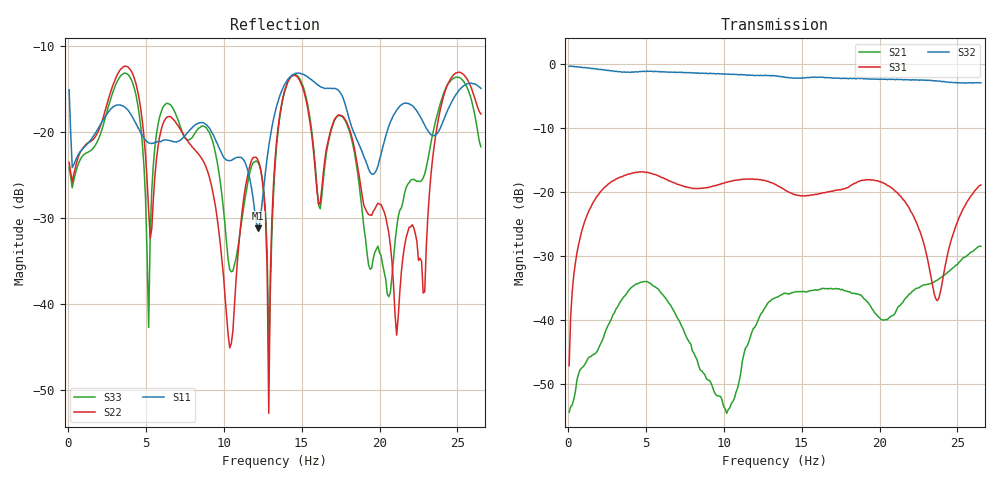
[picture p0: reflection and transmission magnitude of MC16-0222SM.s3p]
!Marki	Microwave	Inc.
!Sales	Email:	info@markimicrowave.com
!Support	Email:	support@markimicrowave.com
!Phone:	408-778-4200
!Model	Number:	MC16-0222SM
!Filename:	MC16-0222SM.s3p
!Description:	MMIC 2-22GHz Coupler
!Port	configuration:	PORT 	1:	Coupled
!  PORT 	2:	Output
!  PORT 	3:	Input
!S3P File:
!Freq DBS11 AngS11 DBS12 AngS12 DBS13 AngS13
!	DBS21 AngS21 DBS22 AngS22 DBS23 AngS23
!	DBS31 AngS31 DBS32 AngS32 DBS33 AngS33
# Hz S  dB  R 50
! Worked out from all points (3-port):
!   265 points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, 100 mHz to 26.5 Hz, reference 50 ohm
!   strongest paths, dB at 100 mHz, 6.7 Hz, 13.3 Hz, 19.9 Hz, 26.5 Hz:
!     S32: -0.3, -1.2, -1.8, -2.3, -2.9
!     S31: -47.2, -18.4, -18.8, -18.2, -18.9
!     S21: -54.4, -38.1, -36.5, -39.4, -28.5
!   lowest |S11| = -31.2 dB at 12.2 Hz (marker M1), VSWR 1.06, Z = 51.6 + j2.3 ohm
!   |S11| at or under -10 dB: start of sweep to end of sweep
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0.1  -15.10 6.5  -52.51 85.5  -42.34 -64.7
     -54.41 10.0  -23.52 39.8  -0.32 -4.9
     -47.16 -107.1  -0.31 -4.7  -24.11 41.4
5.4  -21.34 20.6  -34.28 90.4  -17.06 118.8
     -34.43 89.8  -31.24 41.6  -1.10 -173.9
     -17.08 119.0  -1.09 -173.9  -26.74 98.5
8.6  -18.88 1.6  -47.59 -76.0  -19.37 75.4
     -47.94 -76.4  -23.07 20.3  -1.40 84.5
     -19.36 75.5  -1.38 84.7  -19.31 -48.6
10.4  -23.33 69.0  -52.90 -82.0  -18.30 51.8
      -53.73 -89.8  -45.10 -30.6  -1.55 27.5
      -18.31 52.0  -1.54 27.7  -36.01 -55.4
12.2  -31.20 54.1  -40.10 -135.5  -18.02 18.4
      -40.14 -133.5  -23.24 -118.0  -1.76 -28.7
      -18.02 18.5  -1.75 -28.5  -23.53 -128.5
12.9  -21.67 -15.3  -37.37 174.9  -18.36 4.5
      -37.16 174.8  -52.72 145.0  -1.76 -50.9
      -18.36 4.6  -1.74 -50.7  -46.46 -149.3
13.3  -17.75 -19.4  -36.38 143.8  -18.78 -3.3
      -36.54 144.5  -23.29 30.2  -1.83 -64.1
      -18.77 -2.9  -1.81 -63.7  -24.02 17.6
16.6  -14.92 29.7  -35.14 -87.6  -19.99 -38.3
      -35.08 -88.1  -21.93 77.1  -2.08 -168.6
      -19.99 -38.0  -2.06 -168.3  -22.38 73.3
19.9  -23.96 -27.8  -39.82 88.1  -18.25 -98.7
      -39.41 90.9  -28.28 106.1  -2.32 88.2
      -18.24 -98.7  -2.31 88.4  -33.29 169.7
26.5  -14.93 33.9  -28.52 -118.8  -18.93 -119.7
      -28.46 -119.2  -17.91 34.2  -2.93 -120.3
      -18.88 -119.9  -2.92 -120.3  -21.73 23.7
